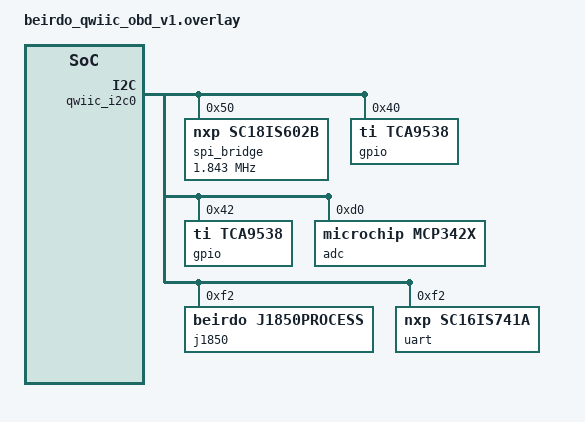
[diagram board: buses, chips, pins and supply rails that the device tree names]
&qwiic_i2c0 {
	# 0x28
	spi_bridge_shield: spi_bridge@0x50 {
		compatible = "nxp,sc18is602b";
		status = "okay";
		spi-max-frequency = <1843000>;
		reg = <0x50>;

		can0_shield: can@0 {
			compatible = "microchip,mcp2515";
			status = "okay";
			spi-max-frequency = <10000000>;
			reg = <0>;
		};
	};

	# 0x20
	gpio0_shield: gpio@0x40 {
		compatible = "ti,tca9538";
		status = "okay";
		reg = <0x40>;
	};

	# 0x21
	gpio1_shield: gpio@0x42 {
		compatible = "ti,tca9538";
		status = "okay";
		reg = <0x42>;
	};

	# 0x68
	adc_shield: adc@0xD0 {
		#address-cells = <1>;
		#size-cells = <0>;
		compatible = "microchip,mcp342x";
		status = "okay";
		reg = <0xD0>;

		channel@0 {
			reg = <0>;
			zephyr,gain = "ADC_GAIN_1";
			zephyr,reference = "ADC_REF_INTERNAL";
			# 16 bits, 15 SPS.
			zephyr,acquisition-time = <ADC_ACQ_TIME_DEFAULT>;
			zephyr,resolution = <16>;
			zephyr,vref-mv = <2048>;
		};

		channel@1 {
			reg = <1>;
			zephyr,gain = "ADC_GAIN_1";
			zephyr,reference = "ADC_REF_INTERNAL";
			# 16 bits, 15 SPS.
			zephyr,acquisition-time = <ADC_ACQ_TIME_DEFAULT>;
			zephyr,resolution = <16>;
			zephyr,vref-mv = <2048>;
		};
	};

	# 0x79
	can1_shield: j1850@0xF2 {
		compatible = "beirdo,j1850process";
		status = "okay";
		reg = <0xF2>;
	};

	# 0x4D
	uart0_shield: uart@0x9A {
		compatible = "nxp,sc16is741a";
		status = "okay";
		current-speed = <10400>;
		reg = <0xF2>;
	};
};
